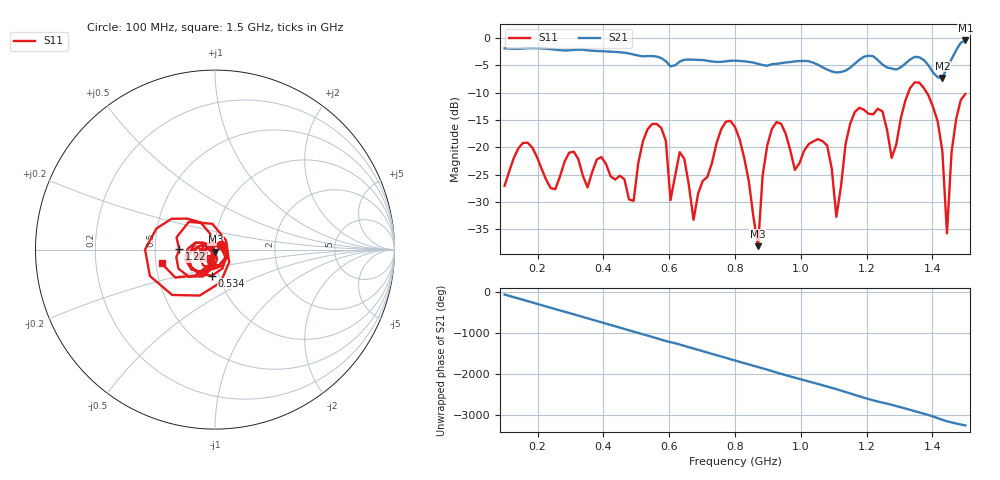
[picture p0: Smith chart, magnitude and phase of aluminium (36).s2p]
! NanoVNA-App
! Date: 2025-09-26 09:58:20
! Start: 100MHz Stop: 1,5GHz Points: 101
! S-Parameter data: F S11 S21 S12 S22
# Hz S RI R 50
!  Frequency  S11_Real  S11_Imag  S21_Real  S21_Imag  S12_Real  S12_Imag  S22_Real  S22_Imag
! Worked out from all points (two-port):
!   101 points, 100 MHz to 1.5 GHz, reference 50 ohm
!   highest |S21| = -0.49 dB at 1.5 GHz (marker M1); lowest = -7.3 dB at 1.43 GHz (marker M2)
!   |S21| within 3 dB of the highest: start of sweep to 565.3 MHz; 1.191 GHz to 1.222 GHz (31.01 MHz wide, 2.57 % of centre) (the widest 2 of 4)
!   lowest |S11| = -38.1 dB at 870 MHz (marker M3), VSWR 1.03, Z = 50.2 - j1.24 ohm
!   |S11| at or under -10 dB: start of sweep to 1.327 GHz; 1.382 GHz to end of sweep
!   S12 and S22 are empty: the file has one direction only
!   S11 on the Smith chart (normalised r, x): 100 MHz: 1.07, +0.06; 534 MHz: 0.93, -0.27; 1.22 GHz: 0.67, +0.01; 1.5 GHz: 0.54, -0.09
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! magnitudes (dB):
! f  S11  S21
! 100 MHz  -27.0  -1.9
! 338 MHz  -25.2  -2.2
! 492 MHz  -29.8  -3.1
! 534 MHz  -16.7  -3.4
! 576 MHz  -16.5  -3.7
! 604 MHz  -29.7  -5.2
! 632 MHz  -20.9  -4.4
! 674 MHz  -33.3  -4.0
! 800 MHz  -16.3  -4.2
! 870 MHz  -38.1  -4.8
! 912 MHz  -16.7  -4.8
! 1.038 GHz  -18.9  -4.5
! 1.08 GHz  -19.7  -5.8
! 1.108 GHz  -32.7  -6.3
! 1.15 GHz  -15.7  -5.5
! 1.22 GHz  -14.0  -3.4
! 1.276 GHz  -21.9  -5.6
! 1.346 GHz  -8.1  -3.5
! 1.43 GHz  -20.7  -7.3
! 1.444 GHz  -35.7  -5.5
! 1.458 GHz  -20.9  -3.9
! 1.5 GHz  -10.3  -0.5
